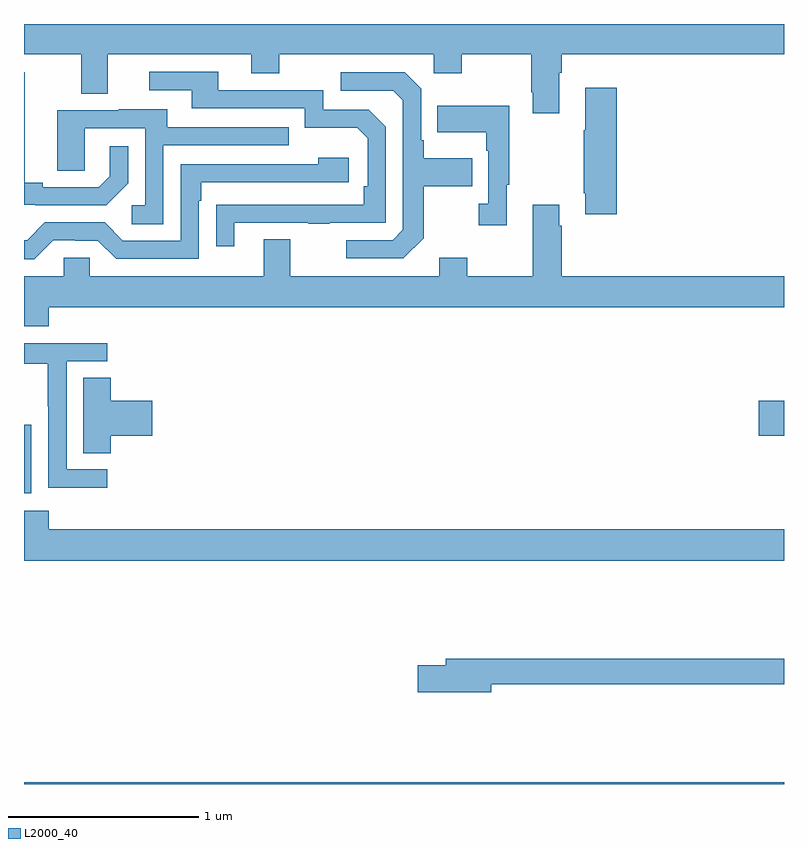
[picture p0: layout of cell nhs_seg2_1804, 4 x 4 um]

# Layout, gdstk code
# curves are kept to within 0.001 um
import gdstk
lib = gdstk.Library(unit=1e-6, precision=1e-09)
def R(c, l, rs):  # rectangles x0, y0, x1, y1
    for r in rs: c.add(gdstk.rectangle(r[:2], r[2:], *l))
def P(c, l, *ps):  # polygons
    for p in ps: c.add(gdstk.Polygon(p, *l))
L2000_40 = (2000, 40)

nhs_seg2_1804 = lib.new_cell('nhs_seg2_1804')
R(nhs_seg2_1804, L2000_40, [(205,639.8,209,639.808), (205,641.33,205.039,641.691), (208.866,641.633,209,641.816)])
P(nhs_seg2_1804, L2000_40, [(207.817,643.544),(207.83,643.544),(207.83,643.64),(209,643.64),(209,643.8),(205,643.8),(205,643.64),(205.301,643.64),(205.301,643.432),(205.441,643.432),(205.441,643.64),(206.195,643.64),(206.195,643.541),(206.343,643.541),(206.343,643.64),(207.156,643.64),(207.156,643.541),(207.303,643.541),(207.303,643.64),(207.67,643.64),(207.67,643.441),(207.677,643.441),(207.677,643.329),(207.817,643.329)],
  [(206.107,642.753),(206.497,642.753),(206.497,642.748),(206.609,642.748),(206.609,642.753),(206.904,642.753),(206.904,643.26),(206.814,643.35),(206.574,643.35),(206.574,643.452),(206.023,643.452),(206.023,643.548),(205.659,643.548),(205.659,643.452),(205.883,643.452),(205.883,643.356),(206.478,643.356),(206.478,643.253),(206.755,643.253),(206.808,643.2),(206.808,642.946),(206.788,642.946),(206.788,642.849),(206.011,642.848),(206.011,642.63),(206.107,642.63)],
  [(205.548,642.962),(205.548,643.156),(205.451,643.156),(205.451,642.999),(205.394,642.942),(205.099,642.942),(205.099,642.965),(205.003,642.965),(205.003,643.545),(205,643.545),(205,642.849),(205.06,642.849),(205.06,642.846),(205.432,642.846)],
  [(207.103,642.673),(207.103,642.946),(207.359,642.946),(207.359,643.093),(207.103,643.093),(207.103,643.189),(207.09,643.189),(207.09,643.458),(207.003,643.545),(206.667,643.545),(206.667,643.449),(206.943,643.449),(206.994,643.398),(206.994,642.717),(206.94,642.663),(206.697,642.663),(206.697,642.567),(206.997,642.567)],
  [(208.121,643.465),(207.953,643.465),(207.953,643.241),(207.946,643.241),(207.946,642.91),(207.953,642.91),(207.953,642.798),(208.121,642.798)],
  [(207.541,642.953),(207.553,642.953),(207.553,643.369),(207.175,643.369),(207.175,643.229),(207.432,643.229),(207.432,643.133),(207.444,643.133),(207.444,642.854),(207.393,642.854),(207.393,642.741),(207.541,642.741)],
  [(205.734,643.161),(206.393,643.161),(206.393,643.257),(205.753,643.257),(205.753,643.351),(205.499,643.351),(205.499,643.347),(205.175,643.347),(205.175,643.027),(205.32,643.027),(205.32,643.251),(205.638,643.251),(205.638,642.846),(205.566,642.846),(205.566,642.745),(205.734,642.745)],
  [(205.155,642.663),(205.271,642.663),(205.271,642.66),(205.389,642.66),(205.485,642.564),(205.92,642.564),(205.92,642.869),(205.933,642.869),(205.933,642.966),(206.71,642.966),(206.71,643.096),(206.549,643.096),(206.549,643.062),(205.824,643.062),(205.824,642.66),(205.521,642.66),(205.425,642.756),(205.11,642.756),(205.017,642.663),(205,642.663),(205,642.563),(205.055,642.563)],
  [(205,642.209),(205.13,642.209),(205.13,642.308),(209,642.308),(209,642.472),(207.83,642.472),(207.83,642.737),(207.817,642.737),(207.817,642.85),(207.677,642.85),(207.677,642.472),(207.333,642.472),(207.333,642.571),(207.185,642.571),(207.185,642.472),(206.401,642.472),(206.401,642.667),(206.261,642.667),(206.261,642.472),(205.347,642.472),(205.347,642.57),(205.209,642.57),(205.209,642.472),(205,642.472)],
  [(205.438,641.457),(205.224,641.457),(205.224,642.024),(205.438,642.024),(205.438,642.12),(205,642.12),(205,642.012),(205.126,642.012),(205.126,641.788),(205.128,641.788),(205.128,641.359),(205.438,641.359)],
  [(205.457,641.633),(205.675,641.633),(205.675,641.816),(205.457,641.816),(205.457,641.939),(205.313,641.939),(205.313,641.542),(205.457,641.542)],
  [(209,641.14),(205.13,641.14),(205.13,641.239),(205,641.239),(205,640.976),(209,640.976)],
  [(207.46,640.324),(209,640.324),(209,640.46),(207.221,640.46),(207.221,640.424),(207.072,640.424),(207.072,640.282),(207.46,640.282)])

lib.write_gds('nhs_seg2_1804.gds')
